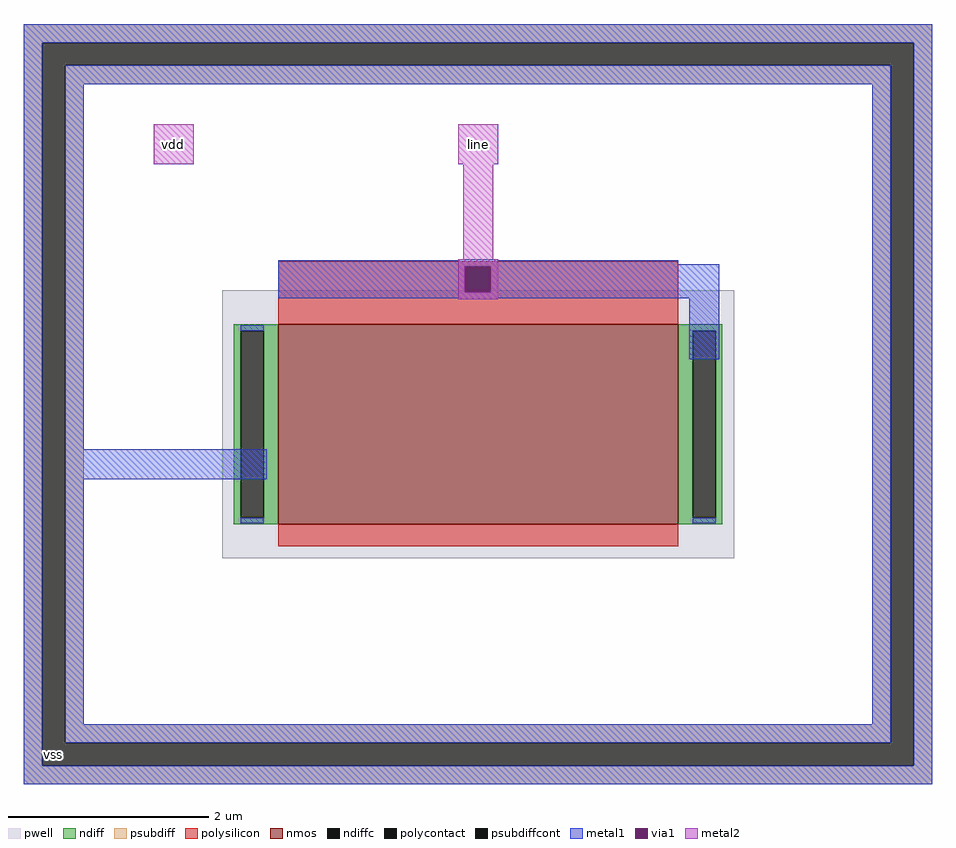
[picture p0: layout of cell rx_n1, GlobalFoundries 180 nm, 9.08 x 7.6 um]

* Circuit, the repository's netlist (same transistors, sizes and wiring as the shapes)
* NGSPICE file created from rx_n1.ext - technology: gf180mcuD

.subckt n_w2_l4 a_400_n200# a_n400_n244# a_n488_n200# VSUBS
X0 a_400_n200# a_n400_n244# a_n488_n200# VSUBS nfet_03v3 ad=0.88p pd=4.88u as=0.88p ps=4.88u w=2u l=4u
.ends

.subckt rx_n1 line vdd vss
XD line line vss vss n_w2_l4
.ends

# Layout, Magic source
magic
tech gf180mcuD
magscale 1 10
<< psubdiff >>
rect 0 1483 1816 1520
rect 0 37 37 1483
rect 83 1400 1733 1437
rect 83 120 120 1400
rect 1696 120 1733 1400
rect 83 83 1733 120
rect 1779 37 1816 1483
rect 0 0 1816 37
<< psubdiffcont >>
rect 37 1437 1779 1483
rect 37 83 83 1437
rect 1733 83 1779 1437
rect 37 37 1779 83
<< polysilicon >>
rect 508 1033 1308 1046
rect 508 987 885 1033
rect 931 987 1308 1033
rect 508 920 1308 987
<< polycontact >>
rect 885 987 931 1033
<< metal1 >>
rect 0 1483 1816 1520
rect 0 37 37 1483
rect 83 1400 1733 1437
rect 83 670 120 1400
rect 868 1048 948 1050
rect 508 1040 1308 1048
rect 508 1036 1390 1040
rect 508 984 882 1036
rect 934 984 1390 1036
rect 508 972 1390 984
rect 868 970 948 972
rect 1330 850 1390 972
rect 83 610 486 670
rect 83 120 120 610
rect 1696 120 1733 1400
rect 83 83 1733 120
rect 1779 37 1816 1483
rect 0 0 1816 37
<< via1 >>
rect 882 1033 934 1036
rect 882 987 885 1033
rect 885 987 931 1033
rect 931 987 934 1033
rect 882 984 934 987
<< metal2 >>
rect 260 1240 340 1320
rect 868 1240 948 1320
rect 878 1050 938 1240
rect 868 1036 948 1050
rect 868 984 882 1036
rect 934 984 948 1036
rect 868 970 948 984
use n_w2_l4  D devices
transform 1 0 908 0 1 720
box -512 -268 512 268
<< labels >>
flabel metal2 868 1240 948 1320 0 FreeSans 400 0 0 0 line
port 1 nsew signal bidirectional
flabel metal2 260 1240 340 1320 0 FreeSans 400 0 0 0 vdd
port 2 nsew power bidirectional
flabel metal1 20 20 100 100 0 FreeSans 400 0 0 0 vss
port 3 nsew ground bidirectional
<< end >>

# cell n_w2_l4: kit device nfet_03v3, w 2 l 4 m 1 nf 1 diffcov 100 polycov 100 guard 0 glc 1 grc 1 gtc 0 gbc 0 tbcov 100 rlcov 100 topc 0 botc 0 poverlap 0 doverlap 1 lmin 0.28 wmin 0.22 class mosfet full_metal 1 compatible {nfet_03v3 nfet_05v0 nfet_06v0 nfet_06v0_nvt}
